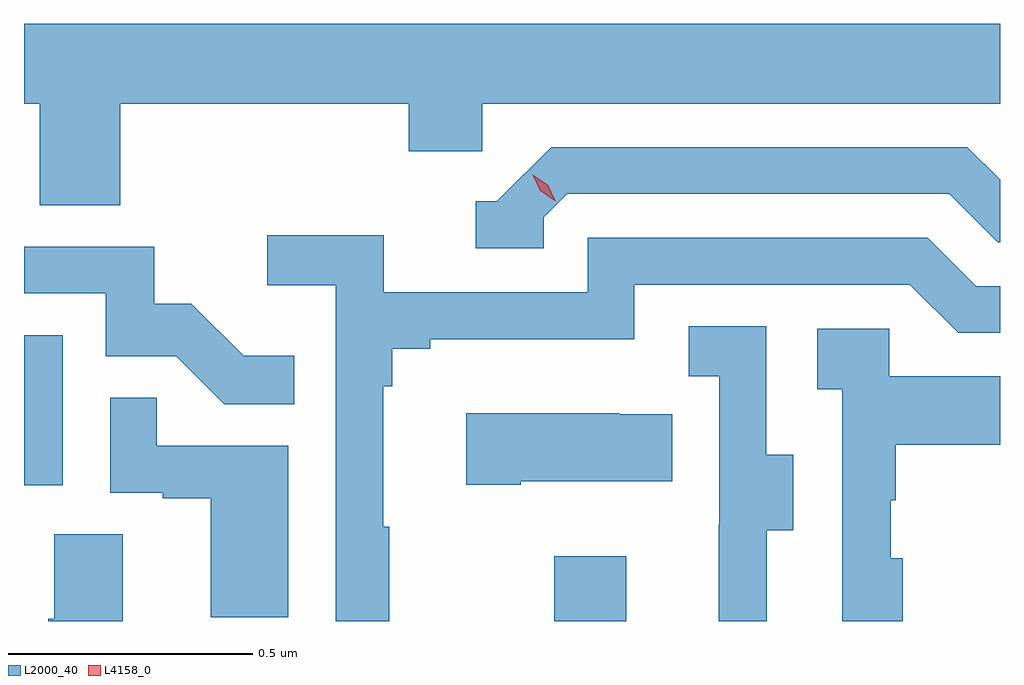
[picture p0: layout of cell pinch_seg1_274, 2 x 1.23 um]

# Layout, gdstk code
import gdstk
lib = gdstk.Library(unit=1e-6, precision=1e-09)
def R(c, l, rs):  # rectangles x0, y0, x1, y1
    for r in rs: c.add(gdstk.rectangle(r[:2], r[2:], *l))
def P(c, l, *ps):  # polygons
    for p in ps: c.add(gdstk.Polygon(p, *l))
L2000_40 = (2000, 40)
L4158_0 = (4158, 0)

pinch_seg1_274 = lib.new_cell('pinch_seg1_274')
R(pinch_seg1_274, L2000_40, [(929.506,569.319,929.653,569.452), (928.419,569.598,928.498,569.905)])
P(pinch_seg1_274, L2000_40, [(928.616,570.38),(929.207,570.38),(929.207,570.282),(929.358,570.282),(929.358,570.38),(930.419,570.38),(930.419,570.544),(928.419,570.544),(928.419,570.38),(928.451,570.38),(928.451,570.172),(928.616,570.172)],
  [(929.484,570.147),(929.532,570.195),(930.315,570.195),(930.414,570.096),(930.419,570.096),(930.419,570.224),(930.352,570.291),(929.499,570.291),(929.388,570.18),(929.345,570.18),(929.345,570.084),(929.484,570.084)],
  [(929.167,569.513),(929.155,569.513),(929.155,569.801),(929.174,569.801),(929.174,569.878),(929.251,569.878),(929.251,569.897),(929.67,569.897),(929.67,570.009),(930.234,570.009),(930.333,569.91),(930.419,569.91),(930.419,570.006),(930.37,570.006),(930.271,570.105),(929.574,570.105),(929.574,569.994),(929.156,569.994),(929.156,570.11),(928.917,570.11),(928.917,570.008),(929.058,570.008),(929.058,569.319),(929.167,569.319)],
  [(928.973,569.863),(928.869,569.863),(928.762,569.97),(928.686,569.97),(928.686,570.087),(928.419,570.087),(928.419,569.991),(928.587,569.991),(928.587,569.862),(928.731,569.862),(928.829,569.764),(928.973,569.764)],
  [(929.941,569.506),(929.995,569.506),(929.995,569.661),(929.94,569.661),(929.94,569.924),(929.781,569.924),(929.781,569.821),(929.844,569.821),(929.844,569.517),(929.843,569.517),(929.843,569.319),(929.941,569.319)],
  [(930.22,569.448),(930.195,569.448),(930.195,569.567),(930.205,569.567),(930.205,569.681),(930.419,569.681),(930.419,569.821),(930.192,569.821),(930.192,569.919),(930.045,569.919),(930.045,569.795),(930.096,569.795),(930.096,569.319),(930.22,569.319)],
  [(928.96,569.679),(928.691,569.679),(928.691,569.777),(928.596,569.777),(928.596,569.583),(928.703,569.583),(928.703,569.571),(928.802,569.571),(928.802,569.328),(928.96,569.328)],
  [(929.437,569.606),(929.747,569.606),(929.747,569.743),(929.639,569.743),(929.639,569.746),(929.325,569.746),(929.325,569.599),(929.437,569.599)],
  [(928.621,569.498),(928.481,569.498),(928.481,569.324),(928.469,569.324),(928.469,569.319),(928.621,569.319)])
P(pinch_seg1_274, L4158_0, [(929.507,570.181),(929.477,570.201),(929.462,570.234),(929.462,570.234),(929.462,570.234),(929.492,570.214),(929.508,570.181),(929.508,570.181)])

lib.write_gds('pinch_seg1_274.gds')
